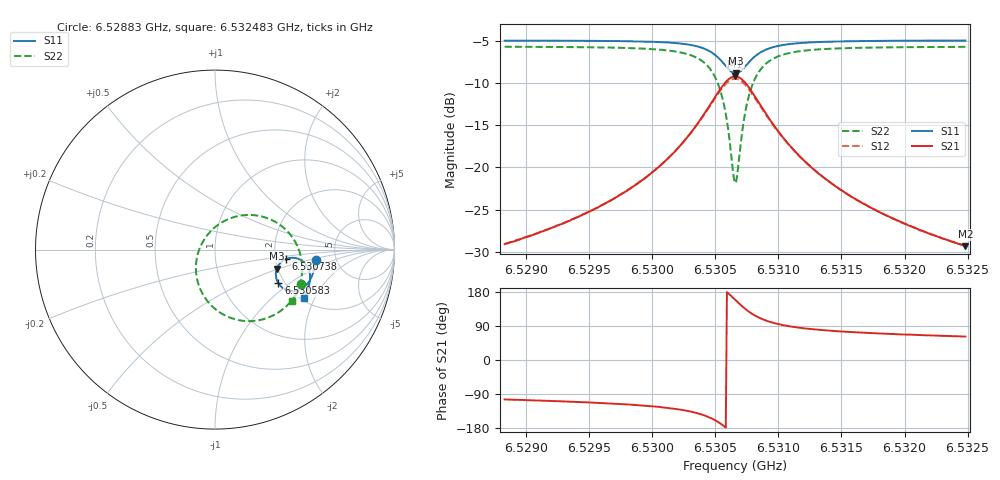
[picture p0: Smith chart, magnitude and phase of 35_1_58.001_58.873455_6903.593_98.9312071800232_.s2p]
#  HZ  S  RI  R  50.00
! Rohde & Schwarz Vector Network Analyzer
! Rohde-Schwarz,ZNB20-2Port,1311601062101988,3.16
! Created: UTC 3/21/2024, 12:51:50 AM
! freq[Hz]  re:S11  im:S11  re:S21  im:S21  re:S12  im:S12  re:S22  im:S22
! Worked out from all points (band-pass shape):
!   401 points, 6.52883 GHz to 6.532483 GHz, reference 50 ohm
!   highest |S21| = -9.21 dB at 6.530656 GHz (marker M1); lowest = -29.3 dB at 6.532483 GHz (marker M2)
!   |S21| within 3 dB of the highest: 6.530475 GHz to 6.53084 GHz (365.6 kHz wide, 0.0056 % of centre)
!   lowest |S11| = -8.9 dB at 6.530665 GHz (marker M3), VSWR 2.13, Z = 98.8 - j24 ohm
!   |S11| at or under -10 dB: nowhere
!   |S22| runs from -21.8 to -5.7 dB; largest |S21 - S12| = 0.015
!   S11 on the Smith chart (normalised r, x): 6.52883 GHz: 3.47, -0.61; 6.530583 GHz: 1.85, -0.82; 6.530738 GHz: 2.28, -0.29; 6.532483 GHz: 2.08, -1.66
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6.52883e9  0.5608 -0.0596  -0.00851 -0.0341  -0.00921 -0.0339  0.4819 -0.1921
6.5294418e9  0.5514 -0.1128  -0.0189 -0.0485  -0.0201 -0.0482  0.4489 -0.2538
6.5297797e9  0.5404 -0.1465  -0.0322 -0.0637  -0.0339 -0.0628  0.4144 -0.2984
6.5300536e9  0.5234 -0.1794  -0.056 -0.084  -0.0587 -0.0822  0.3601 -0.3455
6.5302728e9  0.4932 -0.2115  -0.1034 -0.1075  -0.1067 -0.1037  0.2649 -0.3891
6.530428e9  0.4433 -0.2308  -0.1836 -0.1142  -0.1861 -0.1061  0.1182 -0.3899
6.5305193e9  0.3918 -0.2219  -0.2645 -0.0807  -0.2627 -0.0686  -0.0155 -0.3161
6.5305559e9  0.3684 -0.2058  -0.2991 -0.0459  -0.2941 -0.0335  -0.067 -0.2503
6.5305833e9  0.353 -0.187  -0.3206 -0.00902  -0.3125 0.00275  -0.095 -0.1839
6.530638e9  0.3392 -0.1344  -0.333 0.0876  -0.32 0.0942  -0.0954 -0.0222
6.5306563e9  0.342 -0.1149  -0.3244 0.1217  -0.3106 0.1257  -0.0745 0.0315
6.5306654e9  0.3449 -0.1056  -0.3173 0.1378  -0.3038 0.1408  -0.0599 0.0567
6.5306837e9  0.3537 -0.0882  -0.2992 0.1677  -0.2861 0.1681  -0.0244 0.1019
6.530702e9  0.3654 -0.0732  -0.2762 0.1927  -0.264 0.1911  0.0177 0.1386
6.5307385e9  0.3945 -0.0532  -0.2227 0.2255  -0.2136 0.2216  0.1119 0.1831
6.5308024e9  0.4447 -0.0463  -0.1345 0.2363  -0.1299 0.2318  0.2612 0.1846
6.5308937e9  0.4914 -0.0666  -0.0554 0.205  -0.0535 0.2023  0.3906 0.1146
6.5310307e9  0.52 -0.1044  -0.00653 0.1524  -0.00538 0.1512  0.464 0.0078
6.5312681e9  0.5298 -0.1513  0.0149 0.098  0.016 0.0978  0.4859 -0.1046
6.5315694e9  0.5259 -0.1908  0.0189 0.0651  0.0197 0.0649  0.477 -0.1803
6.5318799e9  0.5172 -0.2216  0.0182 0.0476  0.0192 0.0473  0.4613 -0.2279
6.5324826e9  0.4964 -0.2705  0.0161 0.0301  0.0168 0.0299  0.4301 -0.2889
